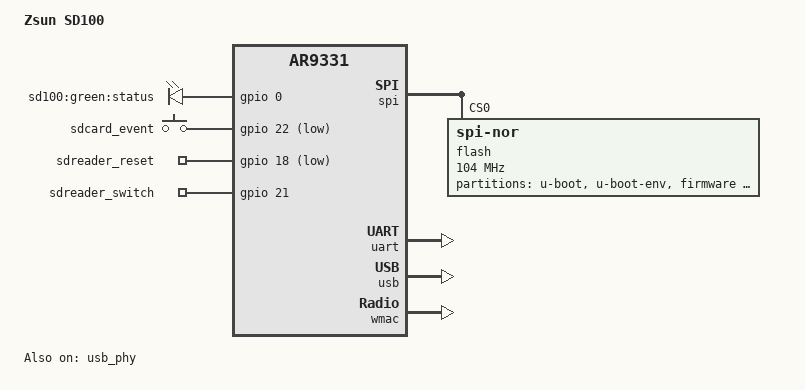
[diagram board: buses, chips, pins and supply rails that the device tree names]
// SPDX-License-Identifier: GPL-2.0-or-later OR MIT
/dts-v1/;

#include <dt-bindings/gpio/gpio.h>
#include <dt-bindings/input/input.h>

#include "ar9331.dtsi"

/ {
	model = "Zsun SD100";
	compatible = "zsun,sd100", "qca,ar9331";

	aliases {
		led-boot = &led_status;
		led-failsafe = &led_status;
		led-running = &led_status;
		led-upgrade = &led_status;
		serial0 = &uart;
	};

	leds {
		compatible = "gpio-leds";

		led_status: status {
			label = "sd100:green:status";
			gpios = <&gpio 0 GPIO_ACTIVE_HIGH>;
			default-state = "on";
		};
	};

	keys {
		compatible = "gpio-keys";

		sdcard_event {
			label = "sdcard_event";
			linux,code = <BTN_0>;
			gpios = <&gpio 22 GPIO_ACTIVE_LOW>;
		};
	};

	gpio-export {
		compatible = "gpio-export";

		sdreader_reset {
			gpio-export,name = "sdreader_reset";
			gpio-export,output = <1>;
			gpios = <&gpio 18 GPIO_ACTIVE_LOW>;
		};

		sdreader_switch {
			gpio-export,name = "sdreader_switch";
			gpio-export,output = <0>;
			gpios = <&gpio 21 GPIO_ACTIVE_HIGH>;
		};
	};
};

&spi {
	status = "okay";

	num-chipselects = <0>;

	flash@0 {
		compatible = "jedec,spi-nor";
		spi-max-frequency = <104000000>;
		reg = <0>;

		partitions {
			compatible = "fixed-partitions";
			#address-cells = <1>;
			#size-cells = <1>;

			partition@0 {
				label = "u-boot";
				reg = <0x000000 0x010000>;
				read-only;
			};

			partition@10000 {
				label = "u-boot-env";
				reg = <0x010000 0x010000>;
				read-only;
			};

			partition@20000 {
				compatible = "denx,uimage";
				label = "firmware";
				reg = <0x020000 0xbc0000>;
			};

			partition@be0000 {
				label = "recovery";
				reg = <0xbe0000 0x400000>;
				read-only;
			};

			partition@fe0000 {
				label = "nvram";
				reg = <0xfe0000 0x010000>;
				read-only;
			};

			art: partition@ff0000 {
				label = "art";
				reg = <0xff0000 0x010000>;
				read-only;
			};
		};
	};
};

&uart {
	status = "okay";
};

&gpio {
	status = "okay";
};

&usb {
	status = "okay";

	compatible = "generic-ehci";
	reg = <0x1b000000 0x1000>;

	has-transaction-translator;
	caps-offset = <0x100>;
};

&usb_phy {
	status = "okay";
};

&wmac {
	status = "okay";

	mtd-cal-data = <&art 0x1000>;
};
